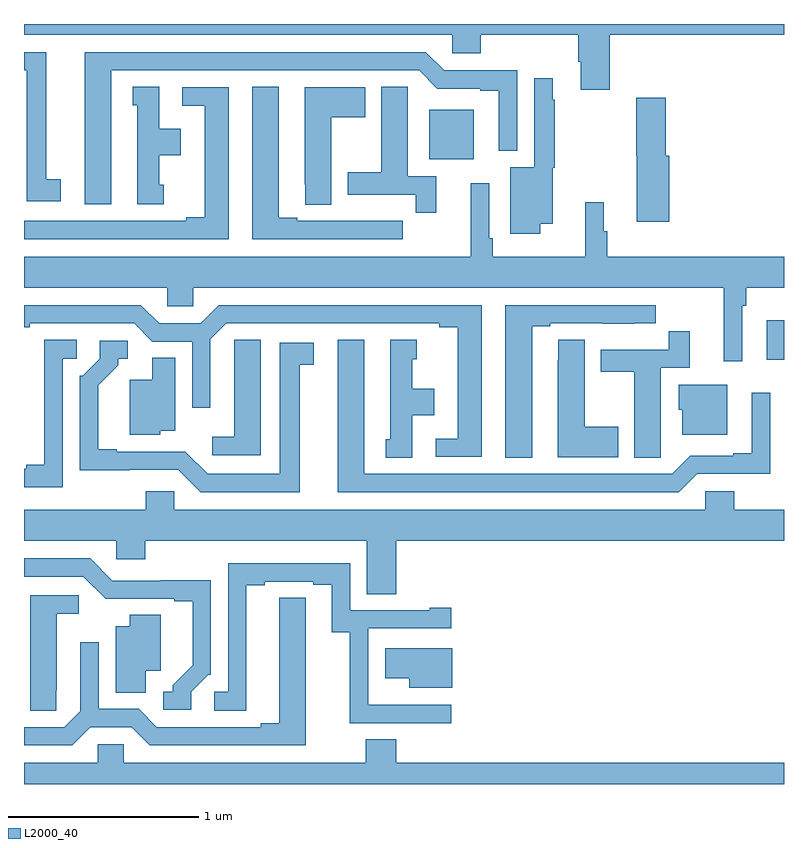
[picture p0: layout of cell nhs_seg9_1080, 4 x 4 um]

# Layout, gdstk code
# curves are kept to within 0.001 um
import gdstk
lib = gdstk.Library(unit=1e-6, precision=1e-09)
def R(c, l, rs):  # rectangles x0, y0, x1, y1
    for r in rs: c.add(gdstk.rectangle(r[:2], r[2:], *l))
def P(c, l, *ps):  # polygons
    for p in ps: c.add(gdstk.Polygon(p, *l))
L2000_40 = (2000, 40)

nhs_seg9_1080 = lib.new_cell('nhs_seg9_1080')
R(nhs_seg9_1080, L2000_40, [(174.908,1170.734,175,1170.94), (173.132,1171.787,173.368,1172.05)])
P(nhs_seg9_1080, L2000_40, [(174.083,1172.444),(175,1172.444),(175,1172.5),(171,1172.5),(171,1172.444),(173.253,1172.444),(173.253,1172.346),(173.405,1172.346),(173.405,1172.444),(173.918,1172.444),(173.918,1172.302),(173.93,1172.302),(173.93,1172.154),(174.083,1172.154)],
  [(171.193,1171.682),(171.118,1171.682),(171.118,1172.352),(171,1172.352),(171,1172.256),(171.014,1172.256),(171.014,1171.566),(171.193,1171.566)],
  [(171.46,1172.256),(173.079,1172.256),(173.175,1172.16),(173.402,1172.16),(173.402,1172.148),(173.498,1172.148),(173.498,1171.832),(173.595,1171.832),(173.595,1172.256),(173.211,1172.256),(173.115,1172.352),(171.32,1172.352),(171.32,1171.551),(171.46,1171.551)],
  [(173.716,1171.448),(173.782,1171.448),(173.782,1171.743),(173.794,1171.743),(173.794,1172.102),(173.782,1172.102),(173.782,1172.215),(173.685,1172.215),(173.685,1171.747),(173.558,1171.747),(173.558,1171.395),(173.716,1171.395)],
  [(173.171,1171.698),(173.02,1171.698),(173.02,1172.06),(173.019,1172.06),(173.019,1172.171),(172.88,1172.171),(172.88,1171.719),(172.703,1171.719),(172.703,1171.602),(173.062,1171.602),(173.062,1171.506),(173.171,1171.506)],
  [(172.993,1171.464),(172.88,1171.464),(172.88,1171.465),(172.714,1171.465),(172.714,1171.464),(172.438,1171.464),(172.438,1171.479),(172.342,1171.479),(172.342,1172.171),(172.202,1172.171),(172.202,1171.368),(172.993,1171.368)],
  [(171.736,1171.653),(171.712,1171.653),(171.712,1171.808),(171.826,1171.808),(171.826,1171.948),(171.712,1171.948),(171.712,1172.171),(171.572,1172.171),(171.572,1172.073),(171.596,1172.073),(171.596,1171.551),(171.736,1171.551)],
  [(172.618,1172.008),(172.795,1172.008),(172.795,1172.167),(172.478,1172.167),(172.478,1171.657),(172.479,1171.657),(172.479,1171.549),(172.618,1171.549)],
  [(172.078,1172.166),(171.834,1172.166),(171.834,1172.07),(171.95,1172.07),(171.95,1171.484),(171.854,1171.484),(171.854,1171.464),(171,1171.464),(171,1171.368),(172.078,1171.368)],
  [(174.395,1171.806),(174.377,1171.806),(174.377,1172.113),(174.223,1172.113),(174.223,1171.806),(174.224,1171.806),(174.224,1171.458),(174.395,1171.458)],
  [(174.78,1171.016),(174.8,1171.016),(174.8,1171.112),(175,1171.112),(175,1171.276),(174.071,1171.276),(174.071,1171.41),(174.052,1171.41),(174.052,1171.561),(173.953,1171.561),(173.953,1171.276),(173.468,1171.276),(173.468,1171.372),(173.448,1171.372),(173.448,1171.663),(173.351,1171.663),(173.351,1171.276),(171,1171.276),(171,1171.112),(171.753,1171.112),(171.753,1171.014),(171.891,1171.014),(171.891,1171.112),(174.683,1171.112),(174.683,1170.726),(174.78,1170.726)],
  [(173.674,1170.909),(173.77,1170.909),(173.77,1170.924),(174.046,1170.924),(174.046,1170.923),(174.212,1170.923),(174.212,1170.924),(174.325,1170.924),(174.325,1171.02),(173.534,1171.02),(173.534,1170.217),(173.674,1170.217)],
  [(173.41,1171.02),(172.025,1171.02),(171.929,1170.924),(171.711,1170.924),(171.615,1171.02),(171,1171.02),(171,1170.904),(171.031,1170.904),(171.031,1170.924),(171.579,1170.924),(171.675,1170.828),(171.885,1170.828),(171.885,1170.48),(171.981,1170.48),(171.981,1170.84),(172.065,1170.924),(173.186,1170.924),(173.186,1170.904),(173.282,1170.904),(173.282,1170.318),(173.166,1170.318),(173.166,1170.222),(173.41,1170.222)],
  [(174.351,1170.328),(174.352,1170.328),(174.352,1170.69),(174.503,1170.69),(174.503,1170.883),(174.394,1170.883),(174.394,1170.786),(174.035,1170.786),(174.035,1170.67),(174.212,1170.67),(174.212,1170.217),(174.351,1170.217)],
  [(171.204,1170.738),(171.277,1170.738),(171.277,1170.839),(171.107,1170.839),(171.107,1170.179),(171.011,1170.179),(171.011,1170.159),(171,1170.159),(171,1170.063),(171.204,1170.063)],
  [(174.127,1170.381),(173.95,1170.381),(173.95,1170.839),(173.811,1170.839),(173.811,1170.731),(173.81,1170.731),(173.81,1170.221),(174.127,1170.221)],
  [(172.246,1170.839),(172.107,1170.839),(172.107,1170.731),(172.106,1170.731),(172.106,1170.328),(171.99,1170.328),(171.99,1170.231),(172.246,1170.231)],
  [(174.543,1170.132),(174.927,1170.132),(174.927,1170.559),(174.83,1170.559),(174.83,1170.241),(174.734,1170.241),(174.734,1170.228),(174.507,1170.228),(174.411,1170.132),(172.792,1170.132),(172.792,1170.838),(172.652,1170.838),(172.652,1170.036),(174.447,1170.036)],
  [(173.044,1170.44),(173.158,1170.44),(173.158,1170.58),(173.044,1170.58),(173.044,1170.735),(173.068,1170.735),(173.068,1170.838),(172.928,1170.838),(172.928,1170.315),(172.904,1170.315),(172.904,1170.217),(173.044,1170.217)],
  [(172.45,1170.706),(172.525,1170.706),(172.525,1170.822),(172.346,1170.822),(172.346,1170.132),(171.966,1170.132),(171.849,1170.249),(171.487,1170.249),(171.487,1170.262),(171.391,1170.262),(171.391,1170.598),(171.496,1170.703),(171.496,1170.738),(171.547,1170.738),(171.547,1170.834),(171.399,1170.834),(171.399,1170.738),(171.309,1170.648),(171.294,1170.648),(171.294,1170.152),(171.813,1170.153),(171.93,1170.036),(172.45,1170.036)],
  [(171.717,1170.359),(171.796,1170.359),(171.796,1170.743),(171.674,1170.743),(171.674,1170.628),(171.557,1170.628),(171.557,1170.338),(171.717,1170.338)],
  [(174.7,1170.601),(174.446,1170.601),(174.446,1170.471),(174.464,1170.471),(174.464,1170.338),(174.7,1170.338)],
  [(171.792,1170.042),(171.641,1170.042),(171.641,1169.944),(171,1169.944),(171,1169.78),(171.486,1169.78),(171.486,1169.682),(171.638,1169.682),(171.638,1169.78),(172.805,1169.78),(172.805,1169.5),(172.958,1169.5),(172.958,1169.78),(175,1169.78),(175,1169.944),(174.737,1169.944),(174.737,1170.042),(174.585,1170.042),(174.585,1169.944),(171.792,1169.944)],
  [(171.879,1168.986),(171.969,1169.076),(171.984,1169.076),(171.984,1169.573),(171.721,1169.573),(171.721,1169.571),(171.465,1169.571),(171.348,1169.688),(171,1169.688),(171,1169.592),(171.312,1169.592),(171.43,1169.474),(171.791,1169.475),(171.791,1169.463),(171.887,1169.463),(171.887,1169.126),(171.782,1169.021),(171.782,1168.986),(171.732,1168.986),(171.732,1168.89),(171.879,1168.89)],
  [(173.248,1168.917),(172.814,1168.917),(172.814,1168.918),(172.812,1168.918),(172.812,1169.319),(173.248,1169.319),(173.248,1169.428),(173.135,1169.428),(173.135,1169.415),(172.716,1169.415),(172.716,1169.661),(172.074,1169.661),(172.074,1168.986),(172.002,1168.986),(172.002,1168.885),(172.171,1168.885),(172.171,1169.545),(172.267,1169.545),(172.267,1169.565),(172.523,1169.565),(172.523,1169.55),(172.619,1169.55),(172.619,1169.299),(172.714,1169.299),(172.714,1168.821),(173.248,1168.821)],
  [(171.171,1168.993),(171.172,1168.993),(171.172,1169.396),(171.289,1169.396),(171.289,1169.493),(171.032,1169.493),(171.032,1168.885),(171.171,1168.885)],
  [(171.349,1168.8),(171.567,1168.8),(171.663,1168.704),(172.483,1168.704),(172.482,1169.48),(172.343,1169.48),(172.343,1168.82),(172.247,1168.82),(172.247,1168.8),(171.699,1168.8),(171.603,1168.896),(171.393,1168.896),(171.393,1169.245),(171.297,1169.245),(171.297,1168.884),(171.213,1168.8),(171,1168.8),(171,1168.704),(171.253,1168.704)],
  [(171.64,1169.096),(171.721,1169.096),(171.721,1169.39),(171.557,1169.39),(171.557,1169.329),(171.482,1169.329),(171.482,1168.981),(171.64,1168.981)],
  [(173.254,1169.215),(172.902,1169.215),(172.902,1169.057),(173.027,1169.057),(173.027,1169.006),(173.254,1169.006)],
  [(175,1168.612),(172.958,1168.612),(172.958,1168.736),(172.798,1168.736),(172.798,1168.612),(171.525,1168.612),(171.525,1168.71),(171.387,1168.71),(171.387,1168.612),(171,1168.612),(171,1168.5),(175,1168.5)])

lib.write_gds('nhs_seg9_1080.gds')
